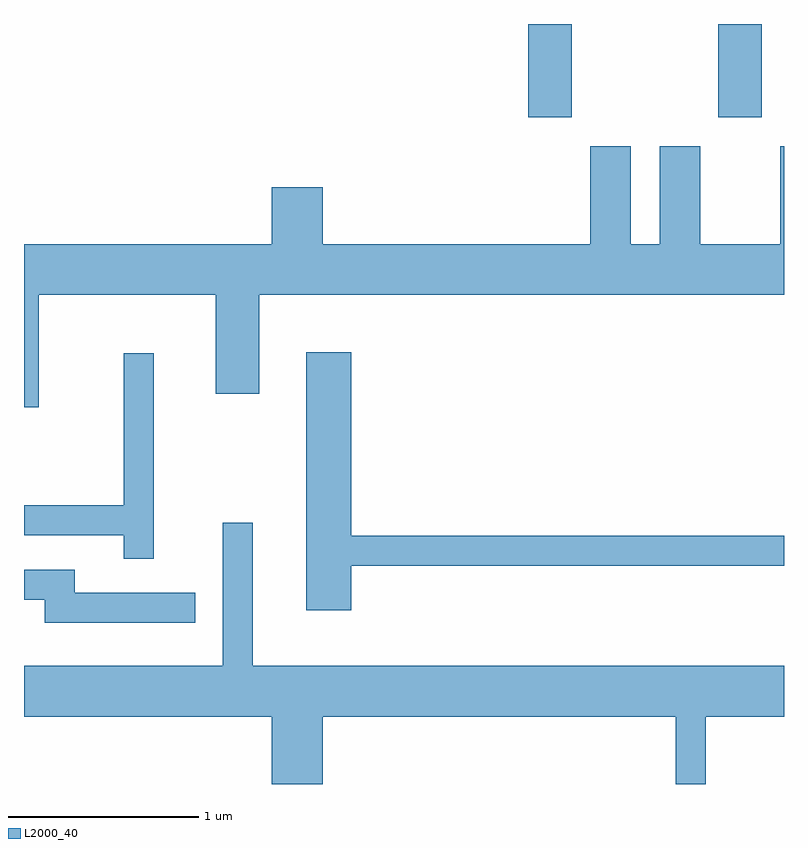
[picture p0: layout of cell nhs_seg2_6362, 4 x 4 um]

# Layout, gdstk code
import gdstk
lib = gdstk.Library(unit=1e-6, precision=1e-09)
def R(c, l, rs):  # rectangles x0, y0, x1, y1
    for r in rs: c.add(gdstk.rectangle(r[:2], r[2:], *l))
def P(c, l, *ps):  # polygons
    for p in ps: c.add(gdstk.Polygon(p, *l))
L2000_40 = (2000, 40)

nhs_seg2_6362 = lib.new_cell('nhs_seg2_6362')
R(nhs_seg2_6362, L2000_40, [(376.266,989.311,376.494,989.802), (377.266,989.311,377.494,989.802)])
P(nhs_seg2_6362, L2000_40, [(373.689,988.376),(374.621,988.376),(374.621,987.856),(374.849,987.856),(374.849,988.376),(377.611,988.376),(377.611,989.159),(377.591,989.159),(377.591,988.644),(377.169,988.644),(377.169,989.159),(376.956,989.159),(376.956,988.644),(376.804,988.644),(376.804,989.159),(376.591,989.159),(376.591,988.644),(375.184,988.644),(375.184,988.944),(374.916,988.944),(374.916,988.644),(373.611,988.644),(373.611,987.786),(373.689,987.786)],
  [(375.334,986.951),(377.611,986.951),(377.611,987.109),(375.334,987.109),(375.334,988.074),(375.096,988.074),(375.096,986.716),(375.334,986.716)],
  [(374.294,988.068),(374.136,988.068),(374.136,987.269),(373.611,987.269),(373.611,987.111),(374.136,987.111),(374.136,986.988),(374.294,986.988)],
  [(375.184,986.156),(377.041,986.156),(377.041,985.802),(377.199,985.802),(377.199,986.156),(377.611,986.156),(377.611,986.424),(374.814,986.424),(374.814,987.178),(374.656,987.178),(374.656,986.424),(373.611,986.424),(373.611,986.156),(374.916,986.156),(374.916,985.802),(375.184,985.802)],
  [(374.513,986.809),(373.879,986.809),(373.879,986.929),(373.611,986.929),(373.611,986.771),(373.721,986.771),(373.721,986.651),(374.513,986.651)])

lib.write_gds('nhs_seg2_6362.gds')
